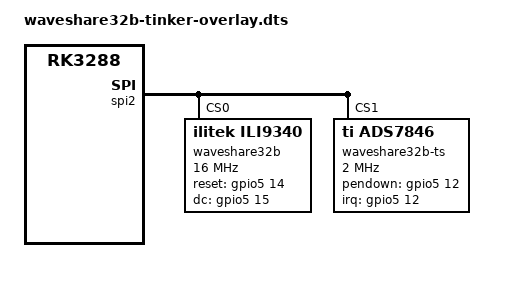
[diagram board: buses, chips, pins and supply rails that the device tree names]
/dts-v1/;
/plugin/;

/ {
	compatible = "rockchip,rk3288-miniarm", "rockchip,rk3288";

	fragment@0 {
		target = <&spi2>;

		__overlay__ {
			status = "okay";

			spidev@0 {
				status = "disabled";
			};

			spidev@1 {
				status = "disabled";
			};
		};
	};

	fragment@1 {
		target = <&gpio5>;

		__overlay__ {
			waveshare32b_pins: waveshare32b_pins {
				rockchip,pins = <5 12 0 &pcfg_pull_none>,
                                <5 14 0 &pcfg_pull_none>,
                                <5 15 0 &pcfg_pull_none>;
			};
		};
	};

	fragment@2 {
		target = <&spi2>;

		__overlay__ {
			#address-cells = <0x1>;
			#size-cells = <0x0>;

			waveshare32b@0 {
					compatible = "ilitek,ili9340";
					reg = <0>;
					pinctrl-names = "default";
					pinctrl-0 = <&waveshare32b_pins>;
					spi-max-frequency = <16000000>;
					txbuflen = <32768>;
					rotate = <270>;
					bgr = <0>;
					fps = <25>;
					buswidth = <8>;
					reset-gpios = <&gpio5 14 0>;
					dc-gpios = <&gpio5 15 0>;
					debug = <0>;
				};
	
				waveshare32b-ts@1 {
					compatible = "ti,ads7846";
					reg = <1>;
					spi-max-frequency = <2000000>;
					interrupts = <12 2>;
					interrupt-parent = <&gpio5>;
					pendown-gpio = <&gpio5 12 0>;
					ti,x-plate-ohms = /bits/ 16 <60>;/*[00 3c];*/
					ti,pressure-max = /bits/ 16 <255>;/*[00 ff];*/
				};
		};
	};
};
